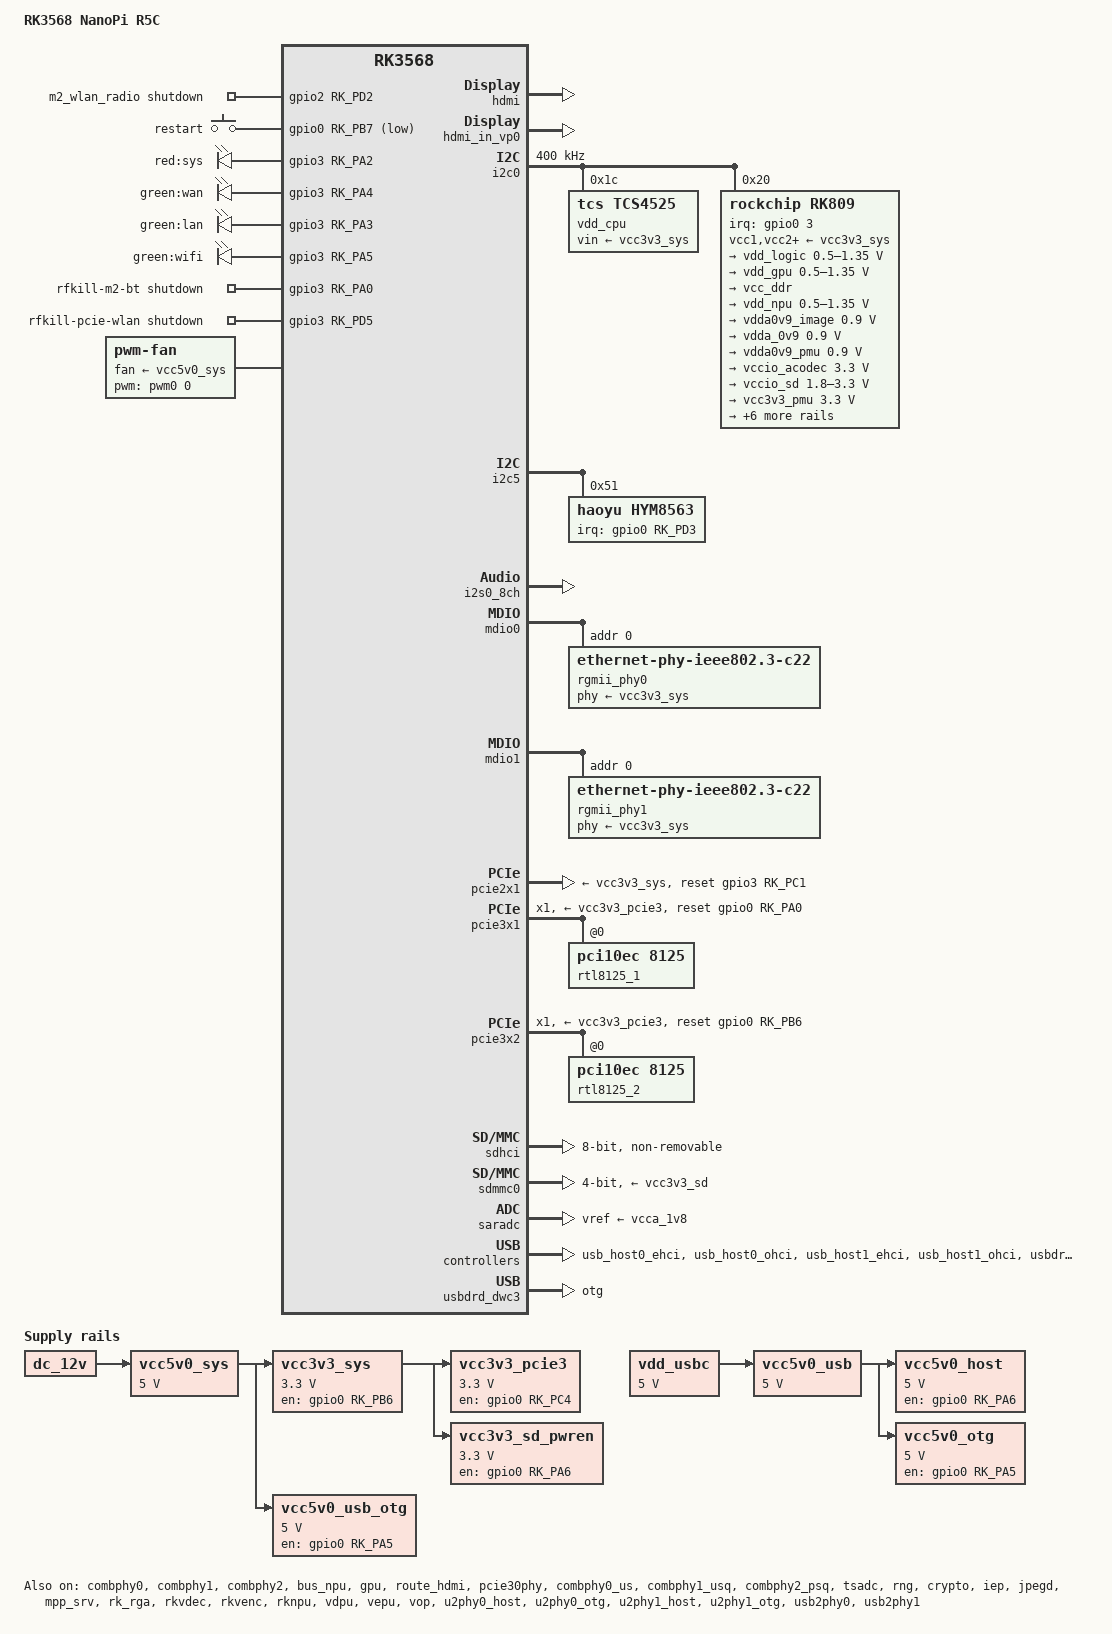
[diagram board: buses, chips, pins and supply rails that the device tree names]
/dts-v1/;
#include <dt-bindings/gpio/gpio.h>
#include <dt-bindings/pwm/pwm.h>
#include <dt-bindings/pinctrl/rockchip.h>
#include <dt-bindings/input/linux-event-codes.h>
#include <dt-bindings/display/drm_mipi_dsi.h>
#include <dt-bindings/display/rockchip_vop.h>
#include <dt-bindings/sensor-dev.h>
#include "rk3568.dtsi"

/ {
	model = "RK3568 NanoPi R5C";
	compatible = "rockchip,rk3568-nanopi-r5c", "rockchip,rk3568";

	chosen: chosen {
		stdout-path = &uart2;
		u-boot,spl-boot-order = &sdmmc0, &sdhci;
	};

	aliases: aliases {
		mmc0 = &sdhci;
		mmc1 = &sdmmc0;
		ethernet0 = &r8125_1;
		ethernet1 = &r8125_2;
	};

	fiq_debugger: fiq-debugger {
		compatible = "rockchip,fiq-debugger";
		rockchip,serial-id = <2>;
		rockchip,wake-irq = <0>;
		rockchip,irq-mode-enable = <1>;
		rockchip,baudrate = <1500000>;
		interrupts = <GIC_SPI 252 IRQ_TYPE_LEVEL_LOW>;
		pinctrl-names = "default";
		pinctrl-0 = <&uart2m0_xfer>;
		status = "okay";
	};

	vdd_usbc: vdd-usbc {
		compatible = "regulator-fixed";
		regulator-name = "vdd_usbc";
		regulator-min-microvolt = <5000000>;
		regulator-max-microvolt = <5000000>;
		regulator-always-on;
		regulator-boot-on;
	};

	vcc5v0_sys: vcc5v0-sys{
		compatible = "regulator-fixed";
		regulator-name = "vcc5v0_sys";
		regulator-min-microvolt = <5000000>;
		regulator-max-microvolt = <5000000>;
		regulator-always-on;
		regulator-boot-on;
		vin-supply = <&vdd_usbc>;
	};

	vcc5v0_usb: vcc5v0-usb {
		compatible = "regulator-fixed";
		regulator-name = "vcc5v0_usb";
		regulator-min-microvolt = <5000000>;
		regulator-max-microvolt = <5000000>;
		regulator-always-on;
		regulator-boot-on;
		vin-supply = <&vdd_usbc>;
	};

	vcc5v0_host: vcc5v0-host {
		compatible = "regulator-fixed";
		regulator-name = "vcc5v0_host";
		regulator-min-microvolt = <5000000>;
		regulator-max-microvolt = <5000000>;
		gpio = <&gpio0 RK_PA6 GPIO_ACTIVE_HIGH>;
		regulator-always-on;
		enable-active-high;
		regulator-boot-on;
		vin-supply = <&vcc5v0_usb>;
	};

	vcc5v0_otg: vcc5v0-otg {
		compatible = "regulator-fixed";
		regulator-name = "vcc5v0_otg";
		regulator-min-microvolt = <5000000>;
		regulator-max-microvolt = <5000000>;
		gpio = <&gpio0 RK_PA5 GPIO_ACTIVE_HIGH>;
		enable-active-high;
		vin-supply = <&vcc5v0_usb>;
	};

	vcc3v3_sys: vcc3v3-sys {
		compatible = "regulator-fixed";
		regulator-name = "vcc3v3_sys";
		regulator-min-microvolt = <3300000>;
		regulator-max-microvolt = <3300000>;
		regulator-always-on;
		regulator-boot-on;
		vin-supply = <&vdd_usbc>;
	};

	hdmi_sound: hdmi-sound {
		compatible = "simple-audio-card";
		simple-audio-card,format = "i2s";
		simple-audio-card,mclk-fs = <128>;
		simple-audio-card,name = "rockchip,hdmi";
		status = "okay";

		simple-audio-card,cpu {
				sound-dai = <&i2s0_8ch>;
		};

		simple-audio-card,codec {
				sound-dai = <&hdmi>;
		};
	};

	m2_wlan_radio: m2-wlan-radio {
		compatible = "rfkill-gpio";
		type = "wlan";
		shutdown-gpios = <&gpio2 RK_PD2 GPIO_ACTIVE_HIGH>;
	};

	cspmu: cspmu@fd90c000 {
		compatible = "rockchip,cspmu";
		reg = <0x0 0xfd90c000 0x0 0x1000>,
			<0x0 0xfd90d000 0x0 0x1000>,
			<0x0 0xfd90e000 0x0 0x1000>,
			<0x0 0xfd90f000 0x0 0x1000>;
	};

	gpio_keys: gpio-keys {
		compatible = "gpio-keys";

		button_restart: button-restart {
			label = "restart";
			gpios = <&gpio0 RK_PB7 GPIO_ACTIVE_LOW>;
			linux,code = <KEY_RESTART>;
			debounce-interval = <50>;
		};
	};

	gpio_leds: gpio-leds {
		compatible = "gpio-leds";
		
		led_sys: led-sys {
			gpios = <&gpio3 RK_PA2 GPIO_ACTIVE_HIGH>;
            linux,default-trigger = "heartbeat";
			label = "red:sys";
		};

		led_wan: led-wan {
			gpios = <&gpio3 RK_PA4 GPIO_ACTIVE_HIGH>;
			label = "green:wan";
		};

		led_lan: led-lan {
			gpios = <&gpio3 RK_PA3 GPIO_ACTIVE_HIGH>;
			label = "green:lan";
		};

		led_wifi: led-wifi {
			gpios = <&gpio3 RK_PA5 GPIO_ACTIVE_HIGH>;
			label = "green:wifi";
		};
	};

	test_power: test-power {
		status = "okay";
	};
<<<<<<<< HEAD:patch/kernel/rk35xx-vendor-6.1/dt/rk3568-nanopi-r5c.dts
========

	rfkill-bt {
		compatible = "rfkill-gpio";
		label = "rfkill-m2-bt";
		radio-type = "bluetooth";
		shutdown-gpios = <&gpio3 RK_PA0 GPIO_ACTIVE_HIGH>;
	};

	rfkill-wifi {
		compatible = "rfkill-gpio";
		label = "rfkill-pcie-wlan";
		radio-type = "wlan";
		shutdown-gpios = <&gpio3 RK_PD5 GPIO_ACTIVE_HIGH>;
	};

	vcc5v0_sys: vcc5v0-sys-regulator {
		compatible = "regulator-fixed";
		regulator-name = "vcc5v0_sys";
		regulator-always-on;
		regulator-boot-on;
		regulator-min-microvolt = <5000000>;
		regulator-max-microvolt = <5000000>;
		vin-supply = <&dc_12v>;
	};

	vcc3v3_sys: vcc3v3-sys-regulator {
		compatible = "regulator-fixed";
		regulator-name = "vcc3v3_sys";
		regulator-always-on;
		regulator-boot-on;
		regulator-min-microvolt = <3300000>;
		regulator-max-microvolt = <3300000>;

		enable-active-high;
		gpio = <&gpio0 RK_PB6 GPIO_ACTIVE_HIGH>;
		pinctrl-names = "default";
		pinctrl-0 = <&vcc3v3_sys_en>;

		vin-supply = <&vcc5v0_sys>;
	};

	/* eth 2.5g power
	   for H66K H69K
	 */
	vcc3v3_pcie3: vcc3v3-pcie3-regulator {
		compatible = "regulator-fixed";
		regulator-min-microvolt = <3300000>;
		regulator-max-microvolt = <3300000>;
		regulator-name = "vcc3v3_pcie3";
		regulator-boot-on;

		enable-active-high;
		gpio = <&gpio0 RK_PC4 GPIO_ACTIVE_HIGH>;

		pinctrl-names = "default";
		pinctrl-0 = <&vcc3v3_pcie3_en>;
		vin-supply = <&vcc3v3_sys>;
	};

	vcc5v0_usb_otg: vcc5v0-usb-otg-regulator {
		compatible = "regulator-fixed";

		regulator-name = "vcc5v0_usb_otg";
		regulator-min-microvolt = <5000000>;
		regulator-max-microvolt = <5000000>;

		enable-active-high;
		gpio = <&gpio0 RK_PA5 GPIO_ACTIVE_HIGH>;
		pinctrl-names = "default";
		pinctrl-0 = <&vcc5v0_usb_otg_en>;

		vin-supply = <&vcc5v0_sys>;

	};

	vcc3v3_sd_pwren: vcc3v3-sd-pwren-regulator {
		compatible = "regulator-fixed";

		regulator-name = "vcc3v3_sd_pwren";
		regulator-min-microvolt = <3300000>;
		regulator-max-microvolt = <3300000>;
		regulator-boot-on;
		regulator-always-on;

		enable-active-high;
		gpio = <&gpio0 RK_PA6 GPIO_ACTIVE_HIGH>;	/*      SD_PWREN	*/
		vin-supply = <&vcc3v3_sys>;

		pinctrl-names = "default";
		pinctrl-0 = <&vcc3v3_sd_en>;
	};

	rk809-sound {
		compatible = "simple-audio-card";
		simple-audio-card,format = "i2s";
		simple-audio-card,name = "Analog RK809";
		simple-audio-card,mclk-fs = <256>;

		simple-audio-card,cpu {
			sound-dai = <&i2s1_8ch>;
		};
		simple-audio-card,codec {
			sound-dai = <&rk809>;
		};
	};

 	fan: pwm-fan {
 		compatible = "pwm-fan";
		cooling-levels = <0 127 163 255>;
 		#cooling-cells = <2>;
 		fan-supply = <&vcc5v0_sys>;
 		pwms = <&pwm0 0 50000 0>;
	};
};

&combphy0 {
	status = "okay";
};

&combphy1 {
	status = "okay";
};

&combphy2 {
	status = "okay";
>>>>>>>> upstream/main:patch/kernel/archive/rockchip64-7.2/dt/rk3568-hinlink-h68k.dts
};

&cpu0 {
	cpu-supply = <&vdd_cpu>;
};

&cpu1 {
	cpu-supply = <&vdd_cpu>;
};

&cpu2 {
	cpu-supply = <&vdd_cpu>;
};

&cpu3 {
	cpu-supply = <&vdd_cpu>;
};

&bus_npu {
	bus-supply = <&vdd_logic>;
	pvtm-supply = <&vdd_cpu>;
	status = "okay";
};

&gpu {
	clock-names = "gpu", "bus";
	interrupt-names = "gpu", "mmu", "job";
	mali-supply = <&vdd_gpu>;
	status = "okay";
};

&hdmi {
	status = "okay";
	rockchip,phy-table =
		<92812500  0x8009 0x0000 0x0270>,
		<165000000 0x800b 0x0000 0x026d>,
		<185625000 0x800b 0x0000 0x01ed>,
		<297000000 0x800b 0x0000 0x01ad>,
		<594000000 0x8029 0x0000 0x0088>,
		<000000000 0x0000 0x0000 0x0000>;
};

&hdmi_in_vp0 {
	status = "okay";
};

&route_hdmi {
	status = "okay";
	connect = <&vp0_out_hdmi>;
};

&i2c0 {
	i2c-scl-rising-time-ns = <160>;
	i2c-scl-falling-time-ns = <30>;
	clock-frequency = <400000>;
	status = "okay";

	vdd_cpu: tcs4525@1c {
		compatible = "tcs,tcs4525";
		reg = <0x1c>;
		vin-supply = <&vcc3v3_sys>;
		regulator-compatible = "fan53555-reg";
		regulator-name = "vdd_cpu";
		regulator-min-microvolt = <712500>;
		regulator-max-microvolt = <1390000>;
		regulator-init-microvolt = <900000>;
		regulator-ramp-delay = <2300>;
		fcs,suspend-voltage-selector = <1>;
		regulator-boot-on;
		regulator-always-on;

		regulator-state-mem {
			regulator-off-in-suspend;
		};
	};

	rk809: pmic@20 {
		compatible = "rockchip,rk809";
		reg = <0x20>;
		interrupt-parent = <&gpio0>;
		interrupts = <3 IRQ_TYPE_LEVEL_LOW>;

		system-power-controller;
		wakeup-source;
		#clock-cells = <1>;
		clock-output-names = "rk808-clkout1", "rk808-clkout2";
		pmic-reset-func = <0>;
		not-save-power-en = <1>;

		vcc1-supply = <&vcc3v3_sys>;
		vcc2-supply = <&vcc3v3_sys>;
		vcc3-supply = <&vcc3v3_sys>;
		vcc4-supply = <&vcc3v3_sys>;
		vcc5-supply = <&vcc3v3_sys>;
		vcc6-supply = <&vcc3v3_sys>;
		vcc7-supply = <&vcc3v3_sys>;
		vcc8-supply = <&vcc3v3_sys>;
		vcc9-supply = <&vcc3v3_sys>;

		pwrkey {
			status = "okay";
		};

		regulators {

			vdd_logic: DCDC_REG1 {
				regulator-always-on;
				regulator-boot-on;
				regulator-min-microvolt = <500000>;
				regulator-max-microvolt = <1350000>;
				regulator-init-microvolt = <900000>;
				regulator-ramp-delay = <6001>;
				regulator-initial-mode = <0x2>;
				regulator-name = "vdd_logic";

				regulator-state-mem {
					regulator-off-in-suspend;
				};
			};

			vdd_gpu: DCDC_REG2 {
				regulator-always-on;
				regulator-boot-on;
				regulator-min-microvolt = <500000>;
				regulator-max-microvolt = <1350000>;
				regulator-init-microvolt = <900000>;
				regulator-ramp-delay = <6001>;
				regulator-initial-mode = <0x2>;
				regulator-name = "vdd_gpu";
    
				regulator-state-mem {
					regulator-off-in-suspend;
				};
			};

			vcc_ddr: DCDC_REG3 {
				regulator-always-on;
				regulator-boot-on;
				regulator-initial-mode = <0x2>;
				regulator-name = "vcc_ddr";

				regulator-state-mem {
					regulator-on-in-suspend;
				};
			};

			vdd_npu: DCDC_REG4 {
				regulator-always-on;
				regulator-boot-on;
				regulator-min-microvolt = <500000>;
				regulator-max-microvolt = <1350000>;
				regulator-init-microvolt = <900000>;
				regulator-ramp-delay = <6001>;
				regulator-initial-mode = <0x2>;
				regulator-name = "vdd_npu";

				regulator-state-mem {
					regulator-off-in-suspend;
				};
			};

			vdda0v9_image: LDO_REG1 {
				regulator-boot-on;
				regulator-always-on;
				regulator-min-microvolt = <900000>;
				regulator-max-microvolt = <900000>;
				regulator-name = "vdda0v9_image";

				regulator-state-mem {
					regulator-off-in-suspend;
				};
			};

			vdda_0v9: LDO_REG2 {
				regulator-always-on;
				regulator-boot-on;
				regulator-min-microvolt = <900000>;
				regulator-max-microvolt = <900000>;
				regulator-name = "vdda_0v9";

				regulator-state-mem {
					regulator-off-in-suspend;
				};
			};

			vdda0v9_pmu: LDO_REG3 {
				regulator-always-on;
				regulator-boot-on;
				regulator-min-microvolt = <900000>;
				regulator-max-microvolt = <900000>;
				regulator-name = "vdda0v9_pmu";

				regulator-state-mem {
					regulator-on-in-suspend;
					regulator-suspend-microvolt = <900000>;
				};
			};

			vccio_acodec: LDO_REG4 {
				regulator-always-on;
				regulator-boot-on;
				regulator-min-microvolt = <3300000>;
				regulator-max-microvolt = <3300000>;
				regulator-name = "vccio_acodec";

				regulator-state-mem {
					regulator-off-in-suspend;
				};
			};

			vccio_sd: LDO_REG5 {
				regulator-always-on;
				regulator-boot-on;
				regulator-min-microvolt = <1800000>;
				regulator-max-microvolt = <3300000>;
				regulator-name = "vccio_sd";

				regulator-state-mem {
					regulator-off-in-suspend;
				};
			};

			vcc3v3_pmu: LDO_REG6 {
				regulator-always-on;
				regulator-boot-on;
				regulator-min-microvolt = <3300000>;
				regulator-max-microvolt = <3300000>;
				regulator-name = "vcc3v3_pmu";

				regulator-state-mem {
					regulator-on-in-suspend;
					regulator-suspend-microvolt = <3300000>;
				};
			};

			vcca_1v8: LDO_REG7 {
				regulator-always-on;
				regulator-boot-on;
				regulator-min-microvolt = <1800000>;
				regulator-max-microvolt = <1800000>;
				regulator-name = "vcca_1v8";

				regulator-state-mem {
					regulator-off-in-suspend;
				};
			};

			vcca1v8_pmu: LDO_REG8 {
				regulator-always-on;
				regulator-boot-on;
				regulator-min-microvolt = <1800000>;
				regulator-max-microvolt = <1800000>;
				regulator-name = "vcca1v8_pmu";

				regulator-state-mem {
					regulator-on-in-suspend;
					regulator-suspend-microvolt = <1800000>;
				};
			};

			vcca1v8_image: LDO_REG9 {
				regulator-always-on;
				regulator-boot-on;
				regulator-min-microvolt = <1800000>;
				regulator-max-microvolt = <1800000>;
				regulator-name = "vcca1v8_image";
    
				regulator-state-mem {
					regulator-off-in-suspend;
				};
			};

			vcc_1v8: DCDC_REG5 {
				regulator-always-on;
				regulator-boot-on;
				regulator-min-microvolt = <1800000>;
				regulator-max-microvolt = <1800000>;
				regulator-name = "vcc_1v8";

				regulator-state-mem {
					regulator-off-in-suspend;
				};
			};

			vcc_3v3: SWITCH_REG1 {
				regulator-always-on;
				regulator-boot-on;
				regulator-name = "vcc_3v3";

				regulator-state-mem {
					regulator-off-in-suspend;
				};
			};

			vcc3v3_sd: SWITCH_REG2 {
				regulator-always-on;
				regulator-boot-on;
				regulator-name = "vcc3v3_sd";

				regulator-state-mem {
					regulator-off-in-suspend;
				};
			};
		};

		rk809_codec: codec {
			#sound-dai-cells = <1>;
			compatible = "rockchip,rk809-codec", "rockchip,rk817-codec";
			clocks = <&cru I2S1_MCLKOUT>;
			clock-names = "mclk";
			assigned-clocks = <&cru I2S1_MCLKOUT>, <&cru I2S1_MCLK_TX_IOE>;
			assigned-clock-rates = <12288000>;
			assigned-clock-parents = <&cru I2S1_MCLKOUT_TX>, <&cru I2S1_MCLKOUT_TX>;
			hp-volume = <20>;
			spk-volume = <3>;
			mic-in-differential;
			status = "okay";
		};
	};
};

&i2c5 {
	status = "okay";

	hym8563: hym8563@51 {
		compatible = "haoyu,hym8563";
		reg = <0x51>;
		interrupt-parent = <&gpio0>;
		interrupts = <RK_PD3 IRQ_TYPE_LEVEL_LOW>;
		wakeup-source;
	};
};

&i2s0_8ch {
	status = "okay";
};

<<<<<<<< HEAD:patch/kernel/rk35xx-vendor-6.1/dt/rk3568-nanopi-r5c.dts
========
&i2s1_8ch {
	rockchip,trcm-sync-tx-only;
	status = "okay";
};

&mdio0 {
	rgmii_phy0: ethernet-phy@0 {
		compatible = "ethernet-phy-ieee802.3-c22";
		phy-supply = <&vcc3v3_sys>;
		reg = <0x0>;
	};
};

&mdio1 {
	rgmii_phy1: ethernet-phy@0 {
		compatible = "ethernet-phy-ieee802.3-c22";
		phy-supply = <&vcc3v3_sys>;
		reg = <0x0>;
	};
};

&pcie2x1 {
	reset-gpios = <&gpio2 RK_PD6 GPIO_ACTIVE_HIGH>;
	vpcie3v3-supply = <&vcc3v3_sys>;
	status = "okay";
};

&pcie30phy {
	data-lanes = <1 2>;
	status = "okay";
};

&pcie3x1 {
	num-lanes = <1>;
	reset-gpios = <&gpio3 RK_PA4 GPIO_ACTIVE_HIGH>;
	vpcie3v3-supply = <&vcc3v3_pcie3>;
	status = "okay";

	pcie@0,0 {
		reg = <0x00100000 0 0 0 0>;
		#address-cells = <3>;
		#size-cells = <2>;

		rtl8125_1: pcie-eth@10,0 {
			compatible = "pci10ec,8125";
			reg = <0x000000 0 0 0 0>;
			realtek,led-data = <0x0200>;
		};
	};
};

&pcie3x2 {
	num-lanes = <1>;
	rockchip,init-delay-ms = <100>;
	reset-gpios = <&gpio2 RK_PD0 GPIO_ACTIVE_HIGH>;
	vpcie3v3-supply = <&vcc3v3_pcie3>;
	status = "okay";

	pcie@0,0 {
		reg = <0x00200000 0 0 0 0>;
		#address-cells = <3>;
		#size-cells = <2>;

		rtl8125_2: pcie-eth@20,0 {
			compatible = "pci10ec,8125";
			reg = <0x000000 0 0 0 0>;
			realtek,led-data = <0x0200>;
		};
	};
};

&pinctrl {
	button {
		reset_button_pin: reset-button-pin {
			rockchip,pins = <0 RK_PA0 RK_FUNC_GPIO &pcfg_pull_up>;
		};
	};

	leds {
		led_work_en: led-work-en {
			rockchip,pins = <3 RK_PB0 RK_FUNC_GPIO &pcfg_pull_none>;
		};

		led_sata_en: led-user-en {
			rockchip,pins = <3 RK_PA7 RK_FUNC_GPIO &pcfg_pull_none>;
		};

		led_net_en: led-net-en {
			rockchip,pins = <3 RK_PA5 RK_FUNC_GPIO &pcfg_pull_none>;
		};
	};

	vcc {
		vcc3v3_sys_en: vcc3v3-sys-en {
			rockchip,pins = <0 RK_PB6 RK_FUNC_GPIO &pcfg_pull_none>;
		};
	};

	pmic {
		pmic_int: pmic-int {
			rockchip,pins = <0 RK_PA3 RK_FUNC_GPIO &pcfg_pull_up>;
		};
	};

	usb {
		vcc5v0_usb_otg_en: vcc5v0-usb-otg-en {
			rockchip,pins = <0 RK_PA5 RK_FUNC_GPIO &pcfg_pull_none>;
		};
	};

	sd {
		vcc3v3_sd_en: vcc3v3-sd_en {
			rockchip,pins = <0 RK_PA6 RK_FUNC_GPIO &pcfg_pull_none>;
		};
	};

	pcie {
		vcc3v3_pcie3_en: vcc3v3_pcie3_en {
			rockchip,pins = <0 RK_PC4 RK_FUNC_GPIO &pcfg_pull_none>;
		};
	};
};

>>>>>>>> upstream/main:patch/kernel/archive/rockchip64-7.2/dt/rk3568-hinlink-h68k.dts
&pmu_io_domains {
	pmuio2-supply = <&vcc3v3_pmu>;
	vccio1-supply = <&vccio_acodec>;
	vccio3-supply = <&vccio_sd>;
	vccio4-supply = <&vcc_1v8>;
	vccio5-supply = <&vcc_3v3>;
	vccio6-supply = <&vcc_1v8>;
	vccio7-supply = <&vcc_3v3>;
	status = "okay";
};

&sdhci {
	bus-width = <8>;
	no-sdio;
	no-sd;
	non-removable;
	max-frequency = <200000000>;
	pinctrl-names = "default";
	pinctrl-0 = <&emmc_bus8 &emmc_clk &emmc_cmd>;
	full-pwr-cycle-in-suspend;
	status = "okay";
};

&sdmmc0 {
	max-frequency = <150000000>;
	no-sdio;
	no-mmc;
	bus-width = <4>;
	cap-mmc-highspeed;
	cap-sd-highspeed;
	disable-wp;
	sd-uhs-sdr104;
	vmmc-supply = <&vcc3v3_sd>;
	vqmmc-supply = <&vccio_sd>;
	pinctrl-names = "default";
	pinctrl-0 = <&sdmmc0_bus4 &sdmmc0_clk &sdmmc0_cmd &sdmmc0_det>;
	status = "okay";
};

&combphy0_us {
	status = "okay";
};

&combphy1_usq {
	status = "okay";
};

&combphy2_psq {
	status = "okay";
};

&pcie30phy {
        status = "okay";
};

&pcie2x1 {
	num-viewport = <4>;
	reset-gpios = <&gpio3 RK_PC1 GPIO_ACTIVE_HIGH>;
	status = "okay";
};

&pcie3x1 {
	num-viewport = <4>;
	rockchip,bifurcation;
	rockchip,init-delay-ms = <100>;
	reset-gpios = <&gpio0 RK_PA0 GPIO_ACTIVE_HIGH>;
	status = "okay";

	pcie@10 {
		reg = <0x00100000 0 0 0 0>;
		#address-cells = <3>;
		#size-cells = <2>;

		r8125_2: pcie@10,0 {
			reg = <0x000000 0 0 0 0>;
			local-mac-address = [ 00 00 00 00 00 00 ];
		};
	};
};

&pcie3x2 {
	num-viewport = <4>;
	rockchip,bifurcation;
	reset-gpios = <&gpio0 RK_PB6 GPIO_ACTIVE_HIGH>;
	status = "okay";

	pcie@20 {
		reg = <0x00200000 0 0 0 0>;
		#address-cells = <3>;
		#size-cells = <2>;

		r8125_1: pcie@20,0 {
			reg = <0x000000 0 0 0 0>;
			local-mac-address = [ 00 00 00 00 00 00 ];
		};
	};
};

&saradc {
	vref-supply = <&vcca_1v8>;
	status = "okay";
};

&tsadc {
	rockchip,hw-tshut-mode = <1>;
	rockchip,hw-tshut-polarity = <0>;
	status = "okay";
};

&rng {
	status = "okay";
};

&crypto {
	status = "okay";
};

&uart2 {
	status = "disabled";
};

&iep {
	status = "okay";
};

&iep_mmu {
	status = "okay";
};

&jpegd {
	status = "okay";
};

&jpegd_mmu {
	status = "okay";
};

&mpp_srv {
	status = "okay";
};

&rk_rga {
	status = "okay";
};

&rkvdec {
	rockchip,disable-auto-freq;
	assigned-clock-rates = <396000000>, <396000000>, <396000000>, <600000000>;
	status = "okay";
};

&rkvdec_mmu {
	status = "okay";
};

&rkvenc {
	venc-supply = <&vdd_logic>;
	status = "okay";
};

&rkvenc_mmu {
	status = "okay";
};

&rknpu {
	rknpu-supply = <&vdd_npu>;
	status = "okay";
};

&rknpu_mmu {
	status = "okay";
};

&vad {
	rockchip,audio-src = <&i2s1_8ch>;
	rockchip,buffer-time-ms = <128>;
	rockchip,det-channel = <0>;
	rockchip,mode = <0>;
};

&vdpu {
	status = "okay";
};

&vdpu_mmu {
	status = "okay";
};

&vepu {
	status = "okay";
};

&vepu_mmu {
	status = "okay";
};

&reserved_memory {
	linux,cma {
		compatible = "shared-dma-pool";
		inactive;
		reusable;
		reg = <0x0 0x10000000 0x0 0x00800000>;
		linux,cma-default;
	};

	ramoops: ramoops@110000 {
		compatible = "ramoops";
		reg = <0x0 0x110000 0x0 0xf0000>;
		record-size = <0x20000>;
		console-size = <0x80000>;
		ftrace-size = <0x00000>;
		pmsg-size = <0x50000>;
	};
};

&vop {
	status = "okay";
	assigned-clocks = <&cru DCLK_VOP0>, <&cru DCLK_VOP1>;
	assigned-clock-parents = <&pmucru PLL_HPLL>, <&cru PLL_VPLL>;
	support-multi-area;
};

&vop_mmu {
	status = "okay";
};

&vp0 {
	rockchip,plane-mask = <(
				1 << ROCKCHIP_VOP2_CLUSTER0 | 1 << ROCKCHIP_VOP2_ESMART0 |
				1 << ROCKCHIP_VOP2_CLUSTER1 | 1 << ROCKCHIP_VOP2_ESMART1 )>;
	rockchip,primary-plane = <ROCKCHIP_VOP2_ESMART0>;
	cursor-win-id = <ROCKCHIP_VOP2_ESMART1>;
};

&vp1 {
	rockchip,plane-mask = <(1 << ROCKCHIP_VOP2_SMART0 | 1 << ROCKCHIP_VOP2_SMART1)>;
	rockchip,primary-plane = <ROCKCHIP_VOP2_SMART0>;
};

&u2phy0_host {
	phy-supply = <&vcc5v0_host>;
	status = "okay";
};

&u2phy0_otg {
	status = "okay";
};

&u2phy1_host {
	phy-supply = <&vcc5v0_otg>;
	status = "okay";
};

&u2phy1_otg {
	status = "okay";
};

&usb2phy0 {
	status = "okay";
};

&usb2phy1 {
	status = "okay";
};

&usb_host0_ehci {
	status = "okay";
};

&usb_host0_ohci {
	status = "okay";
};

&usb_host1_ehci {
	status = "okay";
};

&usb_host1_ohci {
	status = "okay";
};

&usbdrd_dwc3 {
	dr_mode = "otg";
	extcon = <&usb2phy0>;
	status = "okay";
};

&usbdrd30 {
	status = "okay";
};

&usbhost_dwc3 {
	status = "okay";
};

&usbhost30 {
	status = "okay";
};


